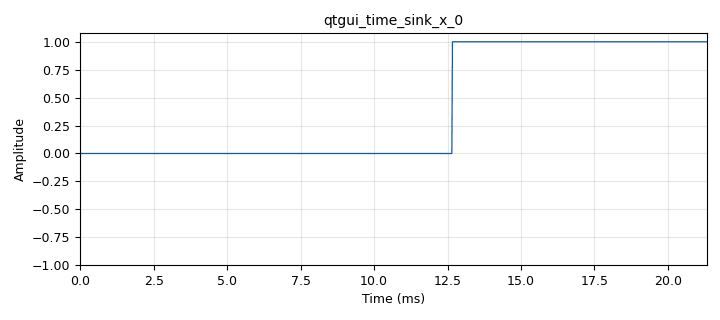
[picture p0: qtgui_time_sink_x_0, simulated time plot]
options:
  parameters:
    author: gpellaeon
    generate_options: qt_gui
    id: fsk
    output_language: python
    title: Not titled yet
  states: {}

blocks:
- name: baud
  id: variable
  parameters:
    value: '45.4545'
  states: {}
- name: center
  id: variable
  parameters:
    value: '2210'
  states: {}
- name: delay
  id: variable_qtgui_range
  parameters:
    label: Delay
    orient: Qt.Horizontal
    start: '0'
    step: '1'
    stop: '250'
    value: '200'
  states: {}
- name: fsk_deviation
  id: variable
  parameters:
    value: '170'
  states: {}
- name: inp_amp
  id: variable
  parameters:
    value: '0.068'
  states: {}
- name: repeat
  id: variable
  parameters:
    value: '1056'
  states: {}
- name: samp_rate
  id: variable
  parameters:
    value: '48000'
  states: {}
- name: sq_lvl
  id: variable_qtgui_range
  parameters:
    label: Squelch
    orient: Qt.Horizontal
    start: '-100'
    step: '5'
    stop: '0'
    value: '-70'
  states: {}
- name: vco_max
  id: variable
  parameters:
    value: 2.5e3
  states: {}
- name: vco_offset
  id: variable
  parameters:
    value: '0.85'
  states: {}
- name: analog_random_source_x_0
  id: analog_random_source_x
  parameters:
    max: '256'
    min: '0'
    num_samps: '1000'
    repeat: 'True'
    type: byte
  states: {}
- name: blocks_repeat_0
  id: blocks_repeat
  parameters:
    interp: repeat
    type: byte
  states: {}
- name: blocks_throttle_0
  id: blocks_throttle
  parameters:
    samples_per_second: samp_rate
    type: byte
  states: {}
- name: blocks_uchar_to_float_0
  id: blocks_uchar_to_float
  parameters: {}
  states: {}
- name: blocks_unpack_k_bits_bb_0
  id: blocks_unpack_k_bits_bb
  parameters:
    k: '8'
  states: {}
- name: qtgui_number_sink_0
  id: qtgui_number_sink
  parameters:
    graph_type: qtgui.NUM_GRAPH_HORIZ
    type: byte
  states: {}
- name: qtgui_time_sink_x_0
  id: qtgui_time_sink_x
  parameters:
    ctrlpanel: 'True'
    size: '1024'
    srate: samp_rate
    type: float
  states: {}
- name: virtual_sink_0
  id: virtual_sink
  parameters:
    stream_id: '"xmt_data"'
  states: {state: disabled}

connections:
- [analog_random_source_x_0, '0', blocks_unpack_k_bits_bb_0, '0']
- [analog_random_source_x_0, '0', qtgui_number_sink_0, '0']
- [blocks_repeat_0, '0', blocks_throttle_0, '0']
- [blocks_throttle_0, '0', blocks_uchar_to_float_0, '0']
- [blocks_uchar_to_float_0, '0', qtgui_time_sink_x_0, '0']
- [blocks_uchar_to_float_0, '0', virtual_sink_0, '0']
- [blocks_unpack_k_bits_bb_0, '0', blocks_repeat_0, '0']

metadata:
  file_format: 1
